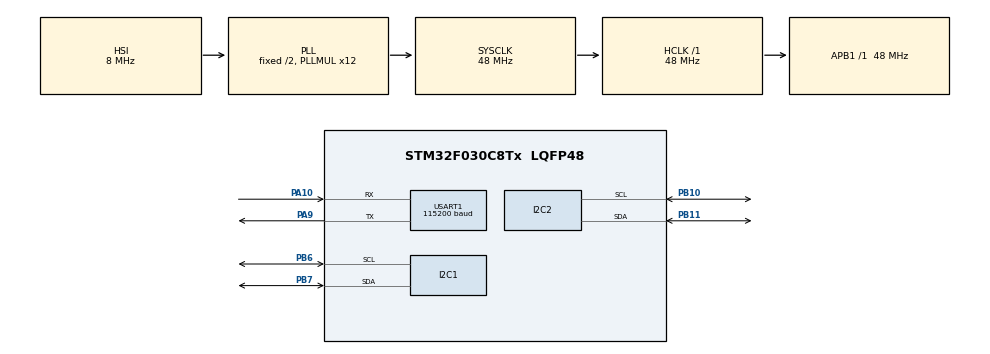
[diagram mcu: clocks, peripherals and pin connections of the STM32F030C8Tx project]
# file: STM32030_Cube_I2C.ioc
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Dma.I2C1_RX.3.Direction=DMA_PERIPH_TO_MEMORY
Dma.I2C1_RX.3.Instance=DMA1_Channel3
Dma.I2C1_RX.3.MemDataAlignment=DMA_MDATAALIGN_BYTE
Dma.I2C1_RX.3.MemInc=DMA_MINC_ENABLE
Dma.I2C1_RX.3.Mode=DMA_NORMAL
Dma.I2C1_RX.3.PeriphDataAlignment=DMA_PDATAALIGN_BYTE
Dma.I2C1_RX.3.PeriphInc=DMA_PINC_DISABLE
Dma.I2C1_RX.3.Priority=DMA_PRIORITY_LOW
Dma.I2C1_TX.2.Direction=DMA_MEMORY_TO_PERIPH
Dma.I2C1_TX.2.Instance=DMA1_Channel2
Dma.I2C1_TX.2.MemDataAlignment=DMA_MDATAALIGN_BYTE
Dma.I2C1_TX.2.MemInc=DMA_MINC_ENABLE
Dma.I2C1_TX.2.Mode=DMA_NORMAL
Dma.I2C1_TX.2.PeriphDataAlignment=DMA_PDATAALIGN_BYTE
Dma.I2C1_TX.2.PeriphInc=DMA_PINC_DISABLE
Dma.I2C1_TX.2.Priority=DMA_PRIORITY_LOW
Dma.I2C2_RX.0.Direction=DMA_PERIPH_TO_MEMORY
Dma.I2C2_RX.0.Instance=DMA1_Channel5
Dma.I2C2_RX.0.MemDataAlignment=DMA_MDATAALIGN_BYTE
Dma.I2C2_RX.0.MemInc=DMA_MINC_ENABLE
Dma.I2C2_RX.0.Mode=DMA_NORMAL
Dma.I2C2_RX.0.PeriphDataAlignment=DMA_PDATAALIGN_BYTE
Dma.I2C2_RX.0.PeriphInc=DMA_PINC_DISABLE
Dma.I2C2_RX.0.Priority=DMA_PRIORITY_LOW
Dma.I2C2_TX.1.Direction=DMA_MEMORY_TO_PERIPH
Dma.I2C2_TX.1.Instance=DMA1_Channel4
Dma.I2C2_TX.1.MemDataAlignment=DMA_MDATAALIGN_BYTE
Dma.I2C2_TX.1.MemInc=DMA_MINC_ENABLE
Dma.I2C2_TX.1.Mode=DMA_NORMAL
Dma.I2C2_TX.1.PeriphDataAlignment=DMA_PDATAALIGN_BYTE
Dma.I2C2_TX.1.PeriphInc=DMA_PINC_DISABLE
Dma.I2C2_TX.1.Priority=DMA_PRIORITY_LOW
Dma.Request0=I2C2_RX
Dma.Request1=I2C2_TX
Dma.Request2=I2C1_TX
Dma.Request3=I2C1_RX
I2C1.I2C_Fall_Time=100
I2C1.I2C_Rise_Time=400
I2C1.OwnAddress=10
I2C1.Timing=0x00501D28
I2C2.I2C_Fall_Time=100
I2C2.I2C_Rise_Time=400
I2C2.OwnAddress=11
I2C2.Timing=0x20A03E55
Mcu.Family=STM32F0
Mcu.Name=STM32F030C8Tx
Mcu.Package=LQFP48
NVIC.DMA1_Channel2_3_IRQn=true\:0\:0\:false\:false\:true
NVIC.DMA1_Channel4_5_IRQn=true\:0\:0\:false\:false\:true
NVIC.I2C1_IRQn=true\:0\:0\:false\:false\:true
PA10.Mode=Asynchronous
PA10.Signal=USART1_RX
PA9.Mode=Asynchronous
PA9.Signal=USART1_TX
PB10.Mode=I2C
PB10.Signal=I2C2_SCL
PB11.Mode=I2C
PB11.Signal=I2C2_SDA
PB6.Mode=I2C
PB6.Signal=I2C1_SCL
PB7.Mode=I2C
PB7.Signal=I2C1_SDA
PF0-OSC_IN.Mode=HSE-External-Oscillator
PF0-OSC_IN.Signal=RCC_OSC_IN
PF1-OSC_OUT.Mode=HSE-External-Oscillator
PF1-OSC_OUT.Signal=RCC_OSC_OUT
ProjectManager.HeapSize=0x200
ProjectManager.StackSize=0x400
ProjectManager.TargetToolchain=EWARM
RCC.AHBFreq_Value=48000000
RCC.APB1Freq_Value=48000000
RCC.APB1TimFreq_Value=48000000
RCC.HCLKFreq_Value=48000000
RCC.PLLMUL=RCC_PLL_MUL12
RCC.SYSCLKFreq_VALUE=48000000
RCC.SYSCLKSource=RCC_SYSCLKSOURCE_PLLCLK
USART1.BaudRate=115200
board=STM32030_Cube_I2C

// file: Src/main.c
/**
  ******************************************************************************
  * File Name          : main.c
  * Description        : Main program body
  ******************************************************************************
  *
  * COPYRIGHT(c) 2016 STMicroelectronics
  *
  * Redistribution and use in source and binary forms, with or without modification,
  * are permitted provided that the following conditions are met:
  *   1. Redistributions of source code must retain the above copyright notice,
  *      this list of conditions and the following disclaimer.
  *   2. Redistributions in binary form must reproduce the above copyright notice,
  *      this list of conditions and the following disclaimer in the documentation
  *      and/or other materials provided with the distribution.
  *   3. Neither the name of STMicroelectronics nor the names of its contributors
  *      may be used to endorse or promote products derived from this software
  *      without specific prior written permission.
  *
  * THIS SOFTWARE IS PROVIDED BY THE COPYRIGHT HOLDERS AND CONTRIBUTORS "AS IS"
  * AND ANY EXPRESS OR IMPLIED WARRANTIES, INCLUDING, BUT NOT LIMITED TO, THE
  * IMPLIED WARRANTIES OF MERCHANTABILITY AND FITNESS FOR A PARTICULAR PURPOSE ARE
  * DISCLAIMED. IN NO EVENT SHALL THE COPYRIGHT HOLDER OR CONTRIBUTORS BE LIABLE
  * FOR ANY DIRECT, INDIRECT, INCIDENTAL, SPECIAL, EXEMPLARY, OR CONSEQUENTIAL
  * DAMAGES (INCLUDING, BUT NOT LIMITED TO, PROCUREMENT OF SUBSTITUTE GOODS OR
  * SERVICES; LOSS OF USE, DATA, OR PROFITS; OR BUSINESS INTERRUPTION) HOWEVER
  * CAUSED AND ON ANY THEORY OF LIABILITY, WHETHER IN CONTRACT, STRICT LIABILITY,
  * OR TORT (INCLUDING NEGLIGENCE OR OTHERWISE) ARISING IN ANY WAY OUT OF THE USE
  * OF THIS SOFTWARE, EVEN IF ADVISED OF THE POSSIBILITY OF SUCH DAMAGE.
  *
  ******************************************************************************
  */
#include "main.h"
#include "stm32f0xx_hal.h"
#include "dma.h"
#include "i2c.h"
#include "usart.h"
#include "gpio.h"

/* USER CODE BEGIN Includes */
int fputc(int ch,FILE *f)
{
//	#ifndef PRINT_ERR
//		Queue_Put(Uart_Tx_Queue, &ch);
//	#else
	HAL_UART_Transmit(&huart1, (uint8_t *)&ch, 1,1000);
//	#endif
	return(ch);
}
/* USER CODE END Includes */

/* USER CODE BEGIN PV */
/* Private variables ---------------------------------------------------------*/

/* USER CODE END PV */

void SystemClock_Config(void);
void Error_Handler(void);

/* USER CODE BEGIN PFP */
/* Private function prototypes -----------------------------------------------*/

/* USER CODE END PFP */

/* USER CODE BEGIN 0 */
uint8_t data = {0};

//void HAL_I2C_MasterTxCpltCallback(I2C_HandleTypeDef *hi2c){
//  printf("HAL_I2C_MasterTxCpltCallback\r\n");
//}
//
//void HAL_I2C_MasterRxCpltCallback(I2C_HandleTypeDef *hi2c){
//printf("HAL_I2C_MasterRxCpltCallback\r\n");
//}
typedef enum{NONE, RX_WAIT,RX_DONE, TX_WAIT, TX_DONE}I2C_STATE;
I2C_STATE state = NONE;
void HAL_I2C_SlaveTxCpltCallback(I2C_HandleTypeDef *hi2c){
  printf("发送:%X\r\n", data);
  state = TX_DONE;
}

void HAL_I2C_SlaveRxCpltCallback(I2C_HandleTypeDef *hi2c){
  printf("收到:%X\r\n", data);
  state = RX_DONE;
//  HAL_I2C_Slave_Receive_DMA(&hi2c1, &data, 1);
//  printf("发送:%X\r\n", data);
//  HAL_I2C_Slave_Transmit_DMA(&hi2c1, &data, 1);
}
/* USER CODE END 0 */

int main(void)
{

  /* MCU Configuration----------------------------------------------------------*/

  /* Reset of all peripherals, Initializes the Flash interface and the Systick. */
  HAL_Init();

  /* Configure the system clock */
  SystemClock_Config();

  /* Initialize all configured peripherals */
  MX_GPIO_Init();
  MX_DMA_Init();
  MX_I2C1_Init();
  MX_I2C2_Init();
  MX_USART1_UART_Init();

  /* Infinite loop */
  /* USER CODE BEGIN WHILE */
  printf("main done\r\n");
//  HAL_I2C_Slave_Receive_DMA(&hi2c1, &data, 1);
//  HAL_I2C_Slave_Transmit_DMA(&hi2c1, &data, 1);
  uint8_t seq = 0;
  while (1)
  {
    HAL_I2C_Slave_Receive(&hi2c1, &data, 1, 1000);
    HAL_I2C_Slave_Transmit_DMA(&hi2c1, &data, 1, 100);
    //HAL_Delay(5000);
    //printf("HeartBeat:%d\r\n", seq++);

    if(state == NONE){
      HAL_I2C_Slave_Receive_DMA(&hi2c1, &data, 1);
      state = RX_WAIT;
    }else if(state == RX_DONE){
      HAL_I2C_Slave_Transmit_DMA(&hi2c1, &data, 1);
      state = TX_WAIT;
    }else if(state == TX_DONE){
      state = NONE;
    }

  /* USER CODE END WHILE */

  }

}

/** System Clock Configuration
*/
void SystemClock_Config(void)
{

  RCC_OscInitTypeDef RCC_OscInitStruct;
  RCC_ClkInitTypeDef RCC_ClkInitStruct;
  RCC_PeriphCLKInitTypeDef PeriphClkInit;

    /**Initializes the CPU, AHB and APB busses clocks
    */
  RCC_OscInitStruct.OscillatorType = RCC_OSCILLATORTYPE_HSI;
  RCC_OscInitStruct.HSIState = RCC_HSI_ON;
  RCC_OscInitStruct.HSICalibrationValue = 16;
  RCC_OscInitStruct.PLL.PLLState = RCC_PLL_ON;
  RCC_OscInitStruct.PLL.PLLSource = RCC_PLLSOURCE_HSI;
  RCC_OscInitStruct.PLL.PLLMUL = RCC_PLL_MUL12;
  RCC_OscInitStruct.PLL.PREDIV = RCC_PREDIV_DIV1;
  if (HAL_RCC_OscConfig(&RCC_OscInitStruct) != HAL_OK)
  {
    Error_Handler();
  }

    /**Initializes the CPU, AHB and APB busses clocks
    */
  RCC_ClkInitStruct.ClockType = RCC_CLOCKTYPE_HCLK|RCC_CLOCKTYPE_SYSCLK
                              |RCC_CLOCKTYPE_PCLK1;
  RCC_ClkInitStruct.SYSCLKSource = RCC_SYSCLKSOURCE_PLLCLK;
  RCC_ClkInitStruct.AHBCLKDivider = RCC_SYSCLK_DIV1;
  RCC_ClkInitStruct.APB1CLKDivider = RCC_HCLK_DIV1;

  if (HAL_RCC_ClockConfig(&RCC_ClkInitStruct, FLASH_LATENCY_1) != HAL_OK)
  {
    Error_Handler();
  }

  PeriphClkInit.PeriphClockSelection = RCC_PERIPHCLK_USART1|RCC_PERIPHCLK_I2C1;
  PeriphClkInit.Usart1ClockSelection = RCC_USART1CLKSOURCE_PCLK1;
  PeriphClkInit.I2c1ClockSelection = RCC_I2C1CLKSOURCE_HSI;
  if (HAL_RCCEx_PeriphCLKConfig(&PeriphClkInit) != HAL_OK)
  {
    Error_Handler();
  }

    /**Configure the Systick interrupt time
    */
  HAL_SYSTICK_Config(HAL_RCC_GetHCLKFreq()/1000);

    /**Configure the Systick
    */
  HAL_SYSTICK_CLKSourceConfig(SYSTICK_CLKSOURCE_HCLK);

  /* SysTick_IRQn interrupt configuration */
  HAL_NVIC_SetPriority(SysTick_IRQn, 0, 0);
}

void Error_Handler(void)
{
  while(1)
  {
  }
}

/************************ (C) COPYRIGHT STMicroelectronics *****END OF FILE****/
